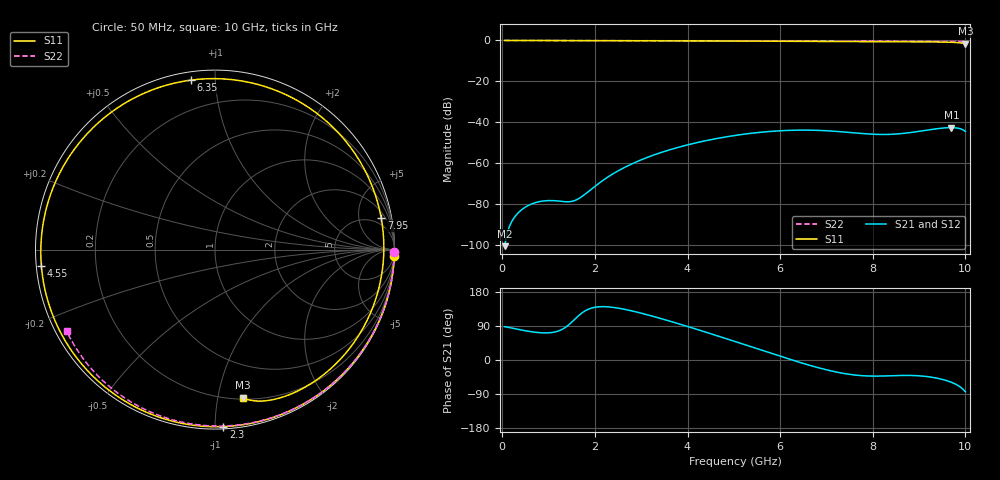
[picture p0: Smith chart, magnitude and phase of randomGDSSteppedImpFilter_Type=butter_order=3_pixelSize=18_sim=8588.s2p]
! freq	dB(S11)	phase(S11)	dB(S12)	phase(S12)
!  dB(S21)	phase(S21)	dB(S22)	phase(S22)
!S-par simulation data
#  GHz  S  DB  R 50
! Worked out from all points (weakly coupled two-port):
!   200 points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, 50 MHz to 10 GHz, reference 50 ohm
!   highest |S21| = -42.60 dB at 9.7 GHz (marker M1); lowest = -100.5 dB at 50 MHz (marker M2)
!   lowest |S11| = -1.5 dB at 10 GHz (marker M3), VSWR 11.38, Z = 10.6 - j59 ohm
!   |S11| at or under -10 dB: nowhere
!   |S22| runs from -0.5 to 0.0 dB; largest |S21 - S12| = 0
!   S11 on the Smith chart (normalised r, x): 50 MHz: 1, -58; 2.3 GHz: 0.01, -1.05; 4.55 GHz: 0.01, -0.05; 6.35 GHz: 0.04, +0.87; 7.95 GHz: 3, +10; 10 GHz: 0.21, -1.18
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0.05  -0.01 -2.0  -100.55 88.0  -100.55 88.0  -0.00 -0.9
0.6  -0.03 -23.2  -80.25 75.1  -80.25 75.1  -0.01 -10.4
0.85  -0.04 -32.8  -78.58 71.7  -78.58 71.7  -0.02 -14.7
1.45  -0.07 -55.5  -78.80 94.3  -78.80 94.3  -0.03 -24.9
1.75  -0.08 -66.8  -75.79 126.7  -75.79 126.7  -0.04 -30.0
2.3  -0.11 -87.3  -66.46 140.1  -66.46 140.1  -0.05 -39.1
2.85  -0.14 -107.8  -59.80 128.1  -59.80 128.1  -0.06 -48.1
3.4  -0.17 -128.6  -54.99 110.2  -54.99 110.2  -0.08 -57.0
4  -0.21 -152.0  -51.04 88.5  -51.04 88.5  -0.09 -66.4
4.55  -0.25 -174.6  -48.27 67.5  -48.27 67.5  -0.11 -74.8
5.05  -0.29 163.4  -46.34 47.8  -46.34 47.8  -0.13 -82.3
5.65  -0.35 134.8  -44.72 23.8  -44.72 23.8  -0.15 -91.1
6  -0.38 116.9  -44.14 9.9  -44.14 9.9  -0.17 -96.1
6.35  -0.41 98.2  -43.85 -3.6  -43.85 -3.6  -0.19 -101.1
6.7  -0.44 78.9  -43.87 -16.2  -43.87 -16.2  -0.21 -106.0
7.05  -0.46 59.5  -44.20 -27.3  -44.20 -27.3  -0.23 -110.8
7.4  -0.48 40.1  -44.77 -36.0  -44.77 -36.0  -0.25 -115.7
7.95  -0.51 10.8  -45.76 -42.4  -45.76 -42.4  -0.30 -123.2
8.35  -0.55 -9.0  -45.92 -41.7  -45.92 -41.7  -0.33 -128.7
9.05  -0.65 -40.5  -44.24 -42.2  -44.24 -42.2  -0.40 -138.2
9.7  -0.91 -66.9  -42.60 -58.9  -42.60 -58.9  -0.47 -147.1
10  -1.53 -79.4  -44.43 -83.9  -44.43 -83.9  -0.51 -151.3
